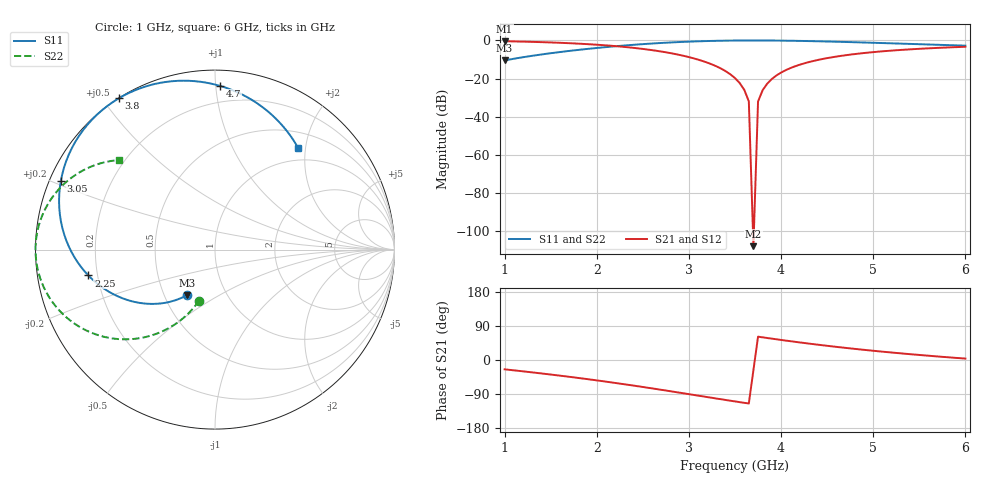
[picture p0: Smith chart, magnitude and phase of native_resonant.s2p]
! Sonnet Data File
! From: em Version : 18.53-Lite
! From Project: source
! Data is from a network
! Data File Written: 10/04/2026 02:34:17
!< HDATE 10/04/2026 02:34:17
!< MDATE 10/04/2026 02:34:17
# GHZ S RI R 50.00000
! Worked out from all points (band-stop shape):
!   101 points, 1 GHz to 6 GHz, reference 50 ohm
!   highest |S21| = -0.41 dB at 1 GHz (marker M1); lowest = -108.0 dB at 3.7 GHz (marker M2)
!   |S21| within 3 dB of the highest: start of sweep to 2.302 GHz; 5.947 GHz to end of sweep
!   lowest |S11| = -10.5 dB at 1 GHz (marker M3), VSWR 1.85, Z = 32.4 - j18.1 ohm
!   |S11| at or under -10 dB: start of sweep to 1.054 GHz
!   |S22| runs from -10.5 to 0.0 dB; largest |S21 - S12| = 3e-16
!   S11 on the Smith chart (normalised r, x): 1 GHz: 0.65, -0.36; 2.25 GHz: 0.16, -0.10; 3.05 GHz: 0.03, +0.21; 3.8 GHz: 0.00, +0.55; 4.7 GHz: 0.09, +1.03; 6 GHz: 0.77, +1.86
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1  -0.1577 -0.2542  0.8675 -0.3973  0.8675 -0.3973  -0.0895 -0.2855
1.45  -0.3278 -0.302  0.7158 -0.5376  0.7158 -0.5376  -0.1987 -0.399
1.85  -0.5158 -0.271  0.5337 -0.613  0.5337 -0.613  -0.3395 -0.4735
2.25  -0.7055 -0.1441  0.323 -0.6142  0.323 -0.6142  -0.5185 -0.4997
2.7  -0.8505 0.121  0.1007 -0.5018  0.1007 -0.5018  -0.7381 -0.4397
3.05  -0.8588 0.3831  -0.0124 -0.3398  -0.0124 -0.3398  -0.8844 -0.3197
3.3  -0.7964 0.5677  -0.0424 -0.2042  -0.0424 -0.2042  -0.9565 -0.204
3.4  -0.7566 0.6351  -0.0416 -0.1499  -0.0416 -0.1499  -0.9758 -0.1536
3.5  -0.7095 0.6971  -0.034 -0.0971  -0.034 -0.0971  -0.9894 -0.1023
3.55  -0.6836 0.7258  -0.0277 -0.0716  -0.0277 -0.0716  -0.9941 -0.0765
3.6  -0.6562 0.7528  -0.0199 -0.0469  -0.0199 -0.0469  -0.9974 -0.0508
3.65  -0.6276 0.7781  -0.0106 -0.023  -0.0106 -0.023  -0.9994 -0.0253
3.7  -0.5979 0.8016  3.58e-06 -1.79e-06  3.58e-06 -1.79e-06  -1 -5.1e-15
3.75  -0.5672 0.8232  0.0119 0.0219  0.0119 0.0219  -0.9994 0.0249
3.8  -0.5358 0.8429  0.0249 0.0428  0.0249 0.0428  -0.9975 0.0495
3.9  -0.471 0.8767  0.0541 0.0811  0.0541 0.0811  -0.9905 0.097
4  -0.4048 0.9031  0.0866 0.1146  0.0866 0.1146  -0.9794 0.1421
4.15  -0.3049 0.9291  0.1399 0.1556  0.1399 0.1556  -0.9562 0.2046
4.35  -0.1751 0.9411  0.2155 0.1931  0.2155 0.1931  -0.9163 0.277
4.7  0.0297 0.9117  0.3476 0.217  0.3476 0.217  -0.8321 0.3738
5.2  0.2556 0.8004  0.5103 0.183  0.5103 0.183  -0.7061 0.4556
6  0.4644 0.5641  0.6813 0.0445  0.6813 0.0445  -0.5338 0.4989
